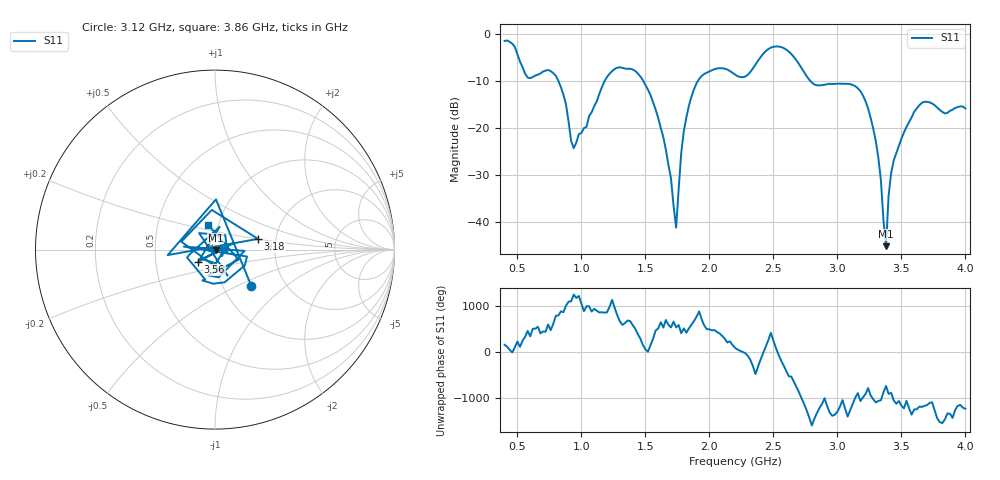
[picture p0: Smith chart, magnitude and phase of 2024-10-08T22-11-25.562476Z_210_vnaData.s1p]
! Created with skrf (http://scikit-rf.org).
# Hz S RI R 50.0
!freq ReS11 ImS11
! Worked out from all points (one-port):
!   181 points, 400 MHz to 4 GHz, reference 50 ohm
!   lowest |S11| = -45.3 dB at 3.38 GHz (marker M1), VSWR 1.01, Z = 50.5 - j0.184 ohm
!   |S11| at or under -10 dB: 821.2 MHz to 1.181 GHz (359.4 MHz wide, 35.9 % of centre); 1.485 GHz to 1.909 GHz (424.6 MHz wide, 25 % of centre); 2.79 GHz to end of sweep
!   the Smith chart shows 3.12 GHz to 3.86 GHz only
!   S11 on the Smith chart (normalised r, x): 3.12 GHz: 1.36, -0.60; 3.18 GHz: 1.61, +0.21; 3.56 GHz: 0.82, -0.11; 3.86 GHz: 0.89, +0.25
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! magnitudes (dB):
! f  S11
! 400 MHz  -1.4
! 580 MHz  -9.2
! 760 MHz  -7.8
! 860 MHz  -12.9
! 940 MHz  -24.3
! 1.3 GHz  -7.0
! 1.44 GHz  -8.3
! 1.58 GHz  -16.1
! 1.7 GHz  -30.8
! 1.74 GHz  -41.3
! 1.76 GHz  -33.0
! 1.8 GHz  -20.7
! 1.9 GHz  -10.4
! 2.2 GHz  -8.6
! 2.5 GHz  -2.7
! 2.66 GHz  -4.8
! 2.82 GHz  -10.7
! 3.1 GHz  -10.6
! 3.12 GHz  -10.8
! 3.18 GHz  -12.1
! 3.3 GHz  -22.8
! 3.38 GHz  -45.3
! 3.4 GHz  -34.5
! 3.42 GHz  -29.6
! 3.56 GHz  -18.7
! 3.68 GHz  -14.4
! 3.86 GHz  -16.8
! 4 GHz  -15.8
